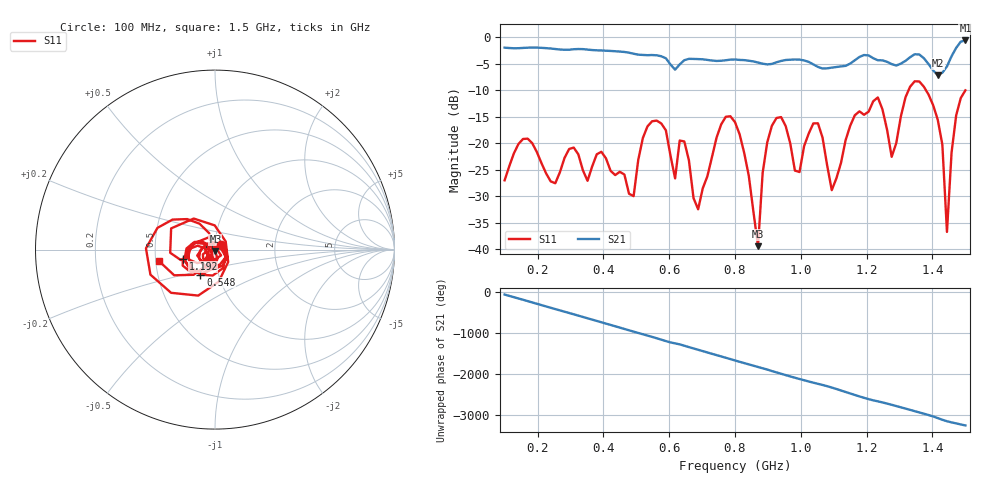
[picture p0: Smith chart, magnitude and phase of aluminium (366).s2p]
! NanoVNA-App
! Date: 2025-09-25 14:58:07
! Start: 100MHz Stop: 1,5GHz Points: 101
! S-Parameter data: F S11 S21 S12 S22
# Hz S RI R 50
!  Frequency  S11_Real  S11_Imag  S21_Real  S21_Imag  S12_Real  S12_Imag  S22_Real  S22_Imag
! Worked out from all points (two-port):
!   101 points, 100 MHz to 1.5 GHz, reference 50 ohm
!   highest |S21| = -0.56 dB at 1.5 GHz (marker M1); lowest = -7.1 dB at 1.416 GHz (marker M2)
!   |S21| within 3 dB of the highest: start of sweep to 576.7 MHz; 1.458 GHz to end of sweep (the widest 2 of 4)
!   lowest |S11| = -39.4 dB at 870 MHz (marker M3), VSWR 1.02, Z = 50.2 - j1.05 ohm
!   |S11| at or under -10 dB: start of sweep to 1.327 GHz; 1.381 GHz to 1.5 GHz (119.1 MHz wide, 8.27 % of centre)
!   S12 and S22 are empty: the file has one direction only
!   S11 on the Smith chart (normalised r, x): 100 MHz: 1.07, +0.06; 548 MHz: 0.82, -0.24; 1.192 GHz: 0.69, -0.07; 1.5 GHz: 0.52, -0.08
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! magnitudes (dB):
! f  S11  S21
! 100 MHz  -27.0  -1.9
! 156 MHz  -19.2  -2.0
! 338 MHz  -25.1  -2.2
! 492 MHz  -29.9  -3.1
! 548 MHz  -15.8  -3.3
! 576 MHz  -16.2  -3.5
! 646 MHz  -19.6  -4.3
! 688 MHz  -32.4  -4.1
! 800 MHz  -16.0  -4.2
! 870 MHz  -39.4  -4.7
! 912 MHz  -16.7  -5.0
! 996 MHz  -25.4  -4.2
! 1.038 GHz  -16.2  -5.1
! 1.094 GHz  -28.8  -5.7
! 1.192 GHz  -14.6  -3.3
! 1.234 GHz  -11.3  -4.3
! 1.276 GHz  -22.5  -5.0
! 1.346 GHz  -8.3  -3.2
! 1.416 GHz  -15.5  -7.1
! 1.444 GHz  -36.7  -5.5
! 1.472 GHz  -14.7  -2.0
! 1.5 GHz  -10.0  -0.6
